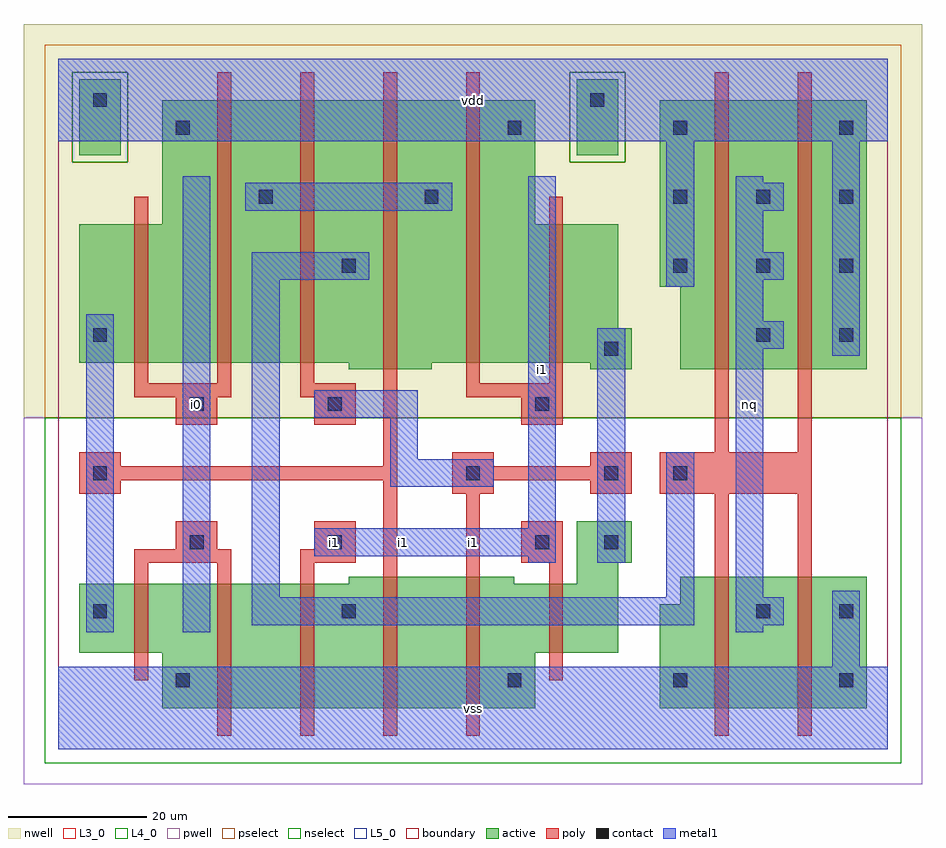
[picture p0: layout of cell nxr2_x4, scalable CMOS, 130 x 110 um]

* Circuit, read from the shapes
.subckt nxr2_x4 i0 i1 nq vdd vss
M1 vss i0 n1 VSUBS nfet w=10u l=2u
M2 n2 i0 vss VSUBS nfet w=18u l=2u
M3 n3 i1 n2 VSUBS nfet w=18u l=2u
M4 n4 n1 n3 VSUBS nfet w=19u l=2u
M5 vss n5 n4 VSUBS nfet w=19u l=2u
M6 n5 i1 vss VSUBS nfet w=10u l=2u
M7 nq n3 vss VSUBS nfet w=19u l=2u m=2
M8 vdd i0 n1 vdd pfet w=20u l=2u
M9 n6 i0 vdd vdd pfet w=38u l=2u
M10 n3 n5 n6 vdd pfet w=38u l=2u
M11 n6 n1 n3 vdd pfet w=39u l=2u
M12 vdd i1 n6 vdd pfet w=38u l=2u
M13 n5 i1 vdd vdd pfet w=20u l=2u
M14 nq n3 vdd vdd pfet w=39u l=2u m=2
.ends

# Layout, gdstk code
import gdstk
lib = gdstk.Library(unit=1e-6, precision=1e-09)
def R(c, l, rs):  # rectangles x0, y0, x1, y1
    for r in rs: c.add(gdstk.rectangle(r[:2], r[2:], *l))
def A(c, l, x, y, w, h, nx, ny, dx, dy):  # array of equal rectangles
    R(c, l, [(x+i*dx, y+j*dy, x+i*dx+w, y+j*dy+h) for i in range(nx) for j in range(ny)])
L3_0 = (3, 0)
L4_0 = (4, 0)
L5_0 = (5, 0)
contact = (25, 0)
pwell = (41, 0)
nwell = (42, 0)
active = (43, 0)
pselect = (44, 0)
nselect = (45, 0)
poly = (46, 0)
metal1 = (49, 0)
boundary = (63, 0)

nxr2_x4 = lib.new_cell('nxr2_x4')
R(nxr2_x4, L3_0, [(15,6,69,14), (87,6,117,21), (3,14,81,24), (90,21,117,25), (42,24,66,25), (75,24,81,27), (75,27,83,33)])
R(nxr2_x4, L4_0, [(42,55,54,56), (77,55,83,56), (90,55,117,67), (3,56,83,61), (3,61,81,76), (87,67,117,94), (15,76,69,94)])
R(nxr2_x4, L5_0, [(3,86,9,97), (75,86,81,97)])
A(nxr2_x4, contact, 65, 9, 2, 2, 3, 2, 24, 80)
A(nxr2_x4, contact, 5, 19, 2, 2, 1, 3, 0, 20)
A(nxr2_x4, contact, 89, 69, 2, 2, 3, 2, 12, 10)
R(nxr2_x4, contact, [(17,9,19,11), (41,19,43,21), (101,19,103,21), (113,19,115,21), (19,29,21,31), (39,29,41,31), (69,29,71,31), (79,29,81,31), (59,39,61,41), (79,39,81,41), (89,39,91,41), (19,49,21,51), (39,49,41,51), (69,49,71,51), (79,57,81,59), (101,59,103,61), (113,59,115,61), (41,69,43,71), (29,79,31,81), (53,79,55,81), (17,89,19,91), (5,93,7,95), (77,93,79,95)])
R(nxr2_x4, pwell, [(-5,-5,125,48)])
R(nxr2_x4, nwell, [(-5,48,125,105)])
R(nxr2_x4, active, [(15,6,69,14), (87,6,117,21), (3,14,81,24), (90,21,117,25), (42,24,66,25), (75,24,81,27), (75,27,83,33), (42,55,54,56), (77,55,83,56), (90,55,117,67), (3,56,83,61), (3,61,81,76), (87,67,117,94), (15,76,69,94), (3,86,9,97), (75,86,81,97)])
R(nxr2_x4, pselect, [(-2,48,122,85), (-2,85,2,98), (10,85,74,98), (82,85,122,98), (-2,98,122,102)])
R(nxr2_x4, nselect, [(-2,-2,122,48), (2,85,10,98), (74,85,82,98)])
R(nxr2_x4, poly, [(23,2,25,27), (35,2,37,27), (47,2,49,39), (59,2,61,37), (95,2,97,37), (107,2,109,37), (11,10,13,27), (71,10,73,27), (11,27,25,29), (35,27,43,29), (67,27,73,33), (17,29,23,33), (37,29,43,33), (3,37,9,39), (57,37,63,39), (77,37,83,39), (87,37,109,43), (3,39,49,41), (57,39,83,41), (3,41,9,43), (47,41,49,98), (57,41,63,43), (77,41,83,43), (95,43,97,98), (107,43,109,98), (17,47,23,51), (37,47,43,51), (67,47,73,51), (11,51,25,53), (35,51,43,53), (59,51,73,53), (11,53,13,80), (23,53,25,98), (35,53,37,98), (59,53,61,98), (71,53,73,80)])
A(nxr2_x4, metal1, 98, 58, 7, 4, 1, 3, 0, 10)
R(nxr2_x4, metal1, [(0,0,120,12), (112,12,116,23), (4,17,8,63), (18,17,22,83), (98,17,102,18), (28,18,92,22), (98,18,105,22), (28,22,32,68), (88,22,92,43), (98,22,102,58), (68,27,72,28), (78,27,82,61), (37,28,72,32), (68,32,72,83), (48,38,63,42), (48,42,52,48), (37,48,52,52), (112,57,116,88), (98,62,102,68), (88,67,92,88), (28,68,45,72), (98,72,102,78), (27,78,57,82), (98,82,102,83), (0,88,120,100)])
R(nxr2_x4, boundary, [(0,0,120,100)])
nxr2_x4.add(gdstk.Label('i0', (20,50), layer=49, texttype=0))
nxr2_x4.add(gdstk.Label('i1', (40,30), layer=49, texttype=0))
nxr2_x4.add(gdstk.Label('i1', (50,30), layer=49, texttype=0))
nxr2_x4.add(gdstk.Label('vss', (60,6), layer=49, texttype=0))
nxr2_x4.add(gdstk.Label('i1', (60,30), layer=49, texttype=0))
nxr2_x4.add(gdstk.Label('i1', (70,55), layer=49, texttype=0))
nxr2_x4.add(gdstk.Label('vdd', (60,94), layer=49, texttype=0))
nxr2_x4.add(gdstk.Label('nq', (100,50), layer=49, texttype=0))

lib.write_gds('nxr2_x4.gds')
